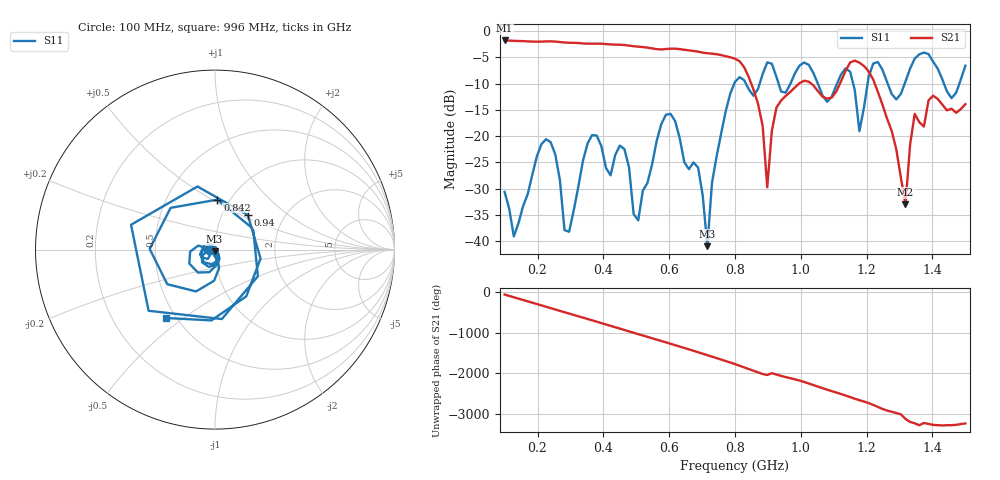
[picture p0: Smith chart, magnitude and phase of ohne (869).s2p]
! NanoVNA-App
! Date: 2025-09-25 14:27:34
! Start: 100MHz Stop: 1,5GHz Points: 101
! S-Parameter data: F S11 S21 S12 S22
# Hz S RI R 50
!  Frequency  S11_Real  S11_Imag  S21_Real  S21_Imag  S12_Real  S12_Imag  S22_Real  S22_Imag
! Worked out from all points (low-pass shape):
!   101 points, 100 MHz to 1.5 GHz, reference 50 ohm
!   highest |S21| = -1.79 dB at 100 MHz (marker M1); lowest = -33.0 dB at 1.318 GHz (marker M2)
!   |S21| within 3 dB of the highest: start of sweep to 771.7 MHz
!   lowest |S11| = -41.0 dB at 716 MHz (marker M3), VSWR 1.02, Z = 49.7 - j0.851 ohm
!   |S11| at or under -10 dB: start of sweep to 797.9 MHz; 833 MHz to 875.1 MHz (42.02 MHz wide, 4.92 % of centre); 1.052 GHz to 1.11 GHz (58.58 MHz wide, 5.42 % of centre) (the widest 3 of 7)
!   S12 and S22 are empty: the file has one direction only
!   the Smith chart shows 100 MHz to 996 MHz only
!   S11 on the Smith chart (normalised r, x): 100 MHz: 0.94, -0.01; 842 MHz: 0.88, +0.53; 940 MHz: 1.32, +0.55; 996 MHz: 0.44, -0.43
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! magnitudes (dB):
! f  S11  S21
! 100 MHz  -30.6  -1.8
! 128 MHz  -39.1  -1.9
! 226 MHz  -20.6  -2.0
! 296 MHz  -38.2  -2.2
! 338 MHz  -24.7  -2.4
! 464 MHz  -22.5  -2.7
! 506 MHz  -36.1  -3.0
! 576 MHz  -17.7  -3.5
! 688 MHz  -26.0  -3.9
! 716 MHz  -41.0  -4.2
! 800 MHz  -9.7  -5.3
! 842 MHz  -11.1  -8.8
! 898 MHz  -6.0  -29.8
! 940 MHz  -11.5  -13.2
! 996 MHz  -6.6  -9.9
! 1.038 GHz  -8.0  -10.3
! 1.178 GHz  -19.1  -6.0
! 1.22 GHz  -6.2  -9.2
! 1.276 GHz  -12.0  -19.0
! 1.318 GHz  -9.6  -33.0
! 1.346 GHz  -5.3  -15.8
! 1.5 GHz  -6.6  -13.9
